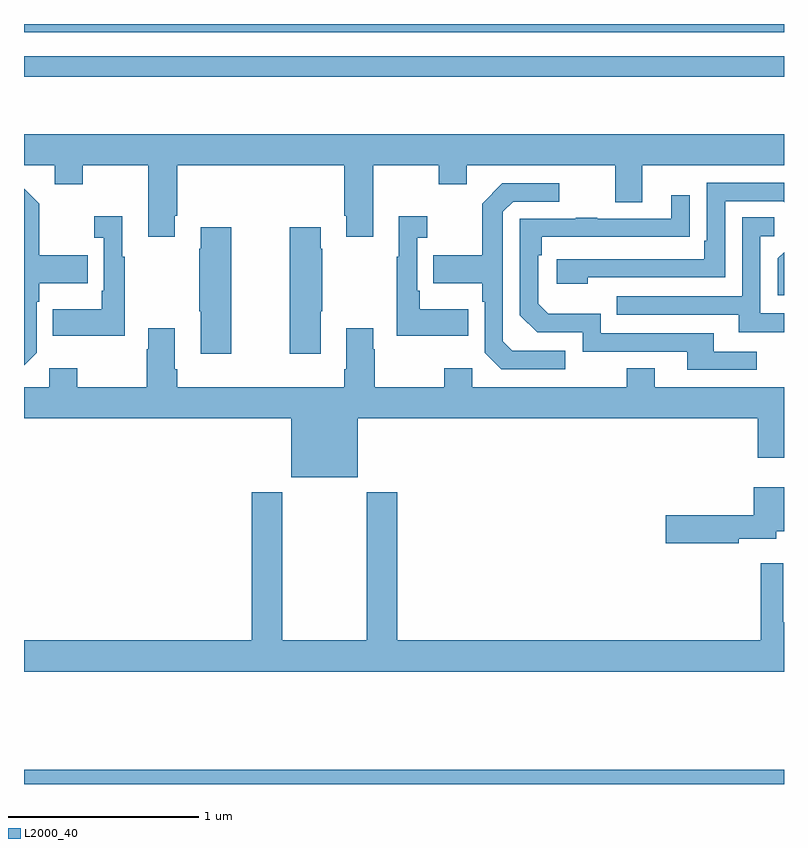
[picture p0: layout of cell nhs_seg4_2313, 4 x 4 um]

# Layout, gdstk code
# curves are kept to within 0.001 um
import gdstk
lib = gdstk.Library(unit=1e-6, precision=1e-09)
def R(c, l, rs):  # rectangles x0, y0, x1, y1
    for r in rs: c.add(gdstk.rectangle(r[:2], r[2:], *l))
def P(c, l, *ps):  # polygons
    for p in ps: c.add(gdstk.Polygon(p, *l))
L2000_40 = (2000, 40)

nhs_seg4_2313 = lib.new_cell('nhs_seg4_2313')
R(nhs_seg4_2313, L2000_40, [(231,790.9,235,790.976), (231,794.622,235,794.73), (231,794.856,235,794.9)])
P(nhs_seg4_2313, L2000_40, [(231.793,793.891),(231.806,793.891),(231.806,794.156),(232.685,794.156),(232.685,793.891),(232.697,793.891),(232.697,793.779),(232.837,793.779),(232.837,794.156),(233.182,794.156),(233.182,794.057),(233.329,794.057),(233.329,794.156),(234.113,794.156),(234.113,793.962),(234.253,793.962),(234.253,794.156),(235,794.156),(235,794.32),(231,794.32),(231,794.156),(231.161,794.156),(231.161,794.057),(231.309,794.057),(231.309,794.156),(231.653,794.156),(231.653,793.779),(231.793,793.779)],
  [(233.966,793.566),(234.69,793.566),(234.69,793.968),(234.993,793.968),(235,793.961),(235,794.064),(234.594,794.064),(234.594,793.759),(234.581,793.759),(234.581,793.662),(233.805,793.662),(233.805,793.532),(233.966,793.532)],
  [(233.848,793.179),(233.571,793.179),(233.52,793.23),(233.52,793.911),(233.574,793.965),(233.818,793.965),(233.818,794.061),(233.517,794.061),(233.412,793.955),(233.412,793.683),(233.155,793.683),(233.155,793.535),(233.412,793.535),(233.412,793.439),(233.424,793.439),(233.424,793.17),(233.511,793.083),(233.848,793.083)],
  [(231.066,793.17),(231.066,793.439),(231.079,793.439),(231.079,793.535),(231.335,793.535),(231.335,793.683),(231.079,793.683),(231.079,793.955),(231,794.034),(231,793.104)],
  [(234.856,793.176),(234.631,793.176),(234.631,793.272),(234.036,793.272),(234.036,793.375),(233.759,793.375),(233.706,793.428),(233.706,793.682),(233.726,793.682),(233.726,793.779),(234.503,793.78),(234.503,793.999),(234.407,793.999),(234.407,793.875),(234.017,793.875),(234.017,793.88),(233.905,793.88),(233.905,793.875),(233.61,793.875),(233.61,793.368),(233.7,793.278),(233.94,793.278),(233.94,793.176),(234.491,793.176),(234.491,793.08),(234.856,793.08)],
  [(231.529,793.675),(231.517,793.675),(231.517,793.888),(231.369,793.888),(231.369,793.775),(231.42,793.775),(231.42,793.495),(231.408,793.495),(231.408,793.399),(231.151,793.399),(231.151,793.259),(231.529,793.259)],
  [(233.339,793.399),(233.083,793.399),(233.083,793.495),(233.07,793.495),(233.07,793.775),(233.122,793.775),(233.122,793.888),(232.973,793.888),(232.973,793.675),(232.962,793.675),(232.962,793.259),(233.339,793.259)],
  [(235,793.377),(234.876,793.377),(234.876,793.782),(234.949,793.782),(234.949,793.883),(234.78,793.883),(234.78,793.467),(234.121,793.467),(234.121,793.371),(234.761,793.371),(234.761,793.277),(235,793.277)],
  [(232.092,793.831),(231.929,793.831),(231.929,793.718),(231.922,793.718),(231.922,793.387),(231.929,793.387),(231.929,793.164),(232.092,793.164)],
  [(232.561,793.387),(232.569,793.387),(232.569,793.718),(232.561,793.718),(232.561,793.831),(232.399,793.831),(232.399,793.164),(232.561,793.164)],
  [(235,793.7),(234.966,793.666),(234.966,793.473),(235,793.473)],
  [(234.863,792.618),(235,792.618),(235,792.988),(234.319,792.988),(234.319,793.087),(234.172,793.087),(234.172,792.988),(233.358,792.988),(233.358,793.087),(233.212,793.087),(233.212,792.988),(232.845,792.988),(232.845,793.187),(232.837,793.187),(232.837,793.3),(232.697,793.3),(232.697,793.084),(232.685,793.084),(232.685,792.988),(231.806,792.988),(231.806,793.084),(231.793,793.084),(231.793,793.3),(231.653,793.3),(231.653,793.187),(231.646,793.187),(231.646,792.988),(231.279,792.988),(231.279,793.087),(231.132,793.087),(231.132,792.988),(231,792.988),(231,792.824),(232.406,792.824),(232.406,792.515),(232.756,792.515),(232.756,792.824),(234.863,792.824)],
  [(234.762,792.191),(234.958,792.191),(234.958,792.23),(235,792.23),(235,792.463),(234.842,792.463),(234.842,792.314),(234.378,792.314),(234.378,792.167),(234.762,792.167)],
  [(235,791.752),(234.996,791.752),(234.996,792.061),(234.877,792.061),(234.877,791.656),(232.964,791.656),(232.964,792.436),(232.804,792.436),(232.804,791.656),(232.359,791.656),(232.359,792.436),(232.199,792.436),(232.199,791.656),(231,791.656),(231,791.492),(235,791.492)])

lib.write_gds('nhs_seg4_2313.gds')
